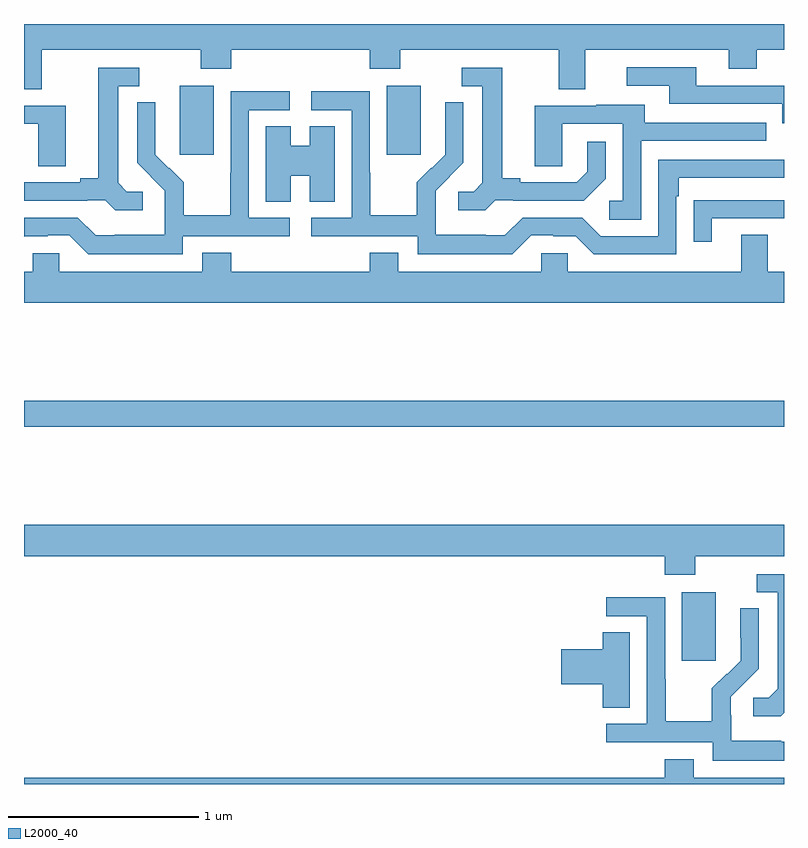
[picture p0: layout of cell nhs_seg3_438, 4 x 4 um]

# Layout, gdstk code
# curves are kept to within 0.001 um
import gdstk
lib = gdstk.Library(unit=1e-6, precision=1e-09)
def R(c, l, rs):  # rectangles x0, y0, x1, y1
    for r in rs: c.add(gdstk.rectangle(r[:2], r[2:], *l))
def P(c, l, *ps):  # polygons
    for p in ps: c.add(gdstk.Polygon(p, *l))
L2000_40 = (2000, 40)

nhs_seg3_438 = lib.new_cell('nhs_seg3_438')
R(nhs_seg3_438, L2000_40, [(136.463,683.049,136.642,683.41), (133,684.28,137,684.416), (133.82,685.713,133.999,686.074), (134.909,685.713,135.088,686.074)])
P(nhs_seg3_438, L2000_40, [(133.093,686.264),(133.93,686.264),(133.93,686.165),(134.09,686.165),(134.09,686.264),(134.819,686.264),(134.819,686.165),(134.979,686.165),(134.979,686.264),(135.815,686.264),(135.815,686.056),(135.955,686.056),(135.955,686.264),(136.709,686.264),(136.709,686.165),(136.857,686.165),(136.857,686.264),(137,686.264),(137,686.4),(133,686.4),(133,686.056),(133.093,686.056)],
  [(137,686.076),(136.537,686.076),(136.537,686.172),(136.173,686.172),(136.173,686.076),(136.397,686.076),(136.397,685.98),(136.992,685.98),(136.992,685.877),(137,685.877)],
  [(135.48,685.473),(135.574,685.473),(135.574,685.47),(135.946,685.47),(136.062,685.586),(136.062,685.78),(135.965,685.78),(135.965,685.623),(135.908,685.566),(135.613,685.566),(135.613,685.589),(135.517,685.589),(135.517,686.169),(135.303,686.169),(135.303,686.073),(135.413,686.073),(135.413,685.565),(135.366,685.518),(135.285,685.518),(135.285,685.421),(135.428,685.421)],
  [(133.624,685.518),(133.542,685.518),(133.495,685.565),(133.495,686.073),(133.606,686.073),(133.606,686.169),(133.391,686.169),(133.391,685.589),(133.295,685.589),(133.295,685.566),(133,685.566),(133,685.47),(133.334,685.47),(133.334,685.473),(133.428,685.473),(133.48,685.421),(133.624,685.421)],
  [(135.669,685.287),(135.785,685.287),(135.785,685.284),(135.903,685.284),(135.999,685.188),(136.434,685.188),(136.434,685.493),(136.447,685.493),(136.447,685.59),(137,685.59),(137,685.686),(136.338,685.686),(136.338,685.284),(136.035,685.284),(135.939,685.38),(135.624,685.38),(135.531,685.287),(135.431,685.287),(135.431,685.291),(135.168,685.291),(135.168,685.425),(135.166,685.425),(135.166,685.522),(135.312,685.67),(135.312,685.988),(135.216,685.988),(135.216,685.834),(135.218,685.834),(135.218,685.712),(135.147,685.641),(135.144,685.644),(135.067,685.567),(135.067,685.393),(134.823,685.393),(134.823,685.616),(134.82,685.616),(134.82,686.046),(134.511,686.046),(134.511,685.947),(134.724,685.947),(134.724,685.38),(134.511,685.38),(134.511,685.284),(135.072,685.284),(135.072,685.187),(135.569,685.187)],
  [(133.836,685.284),(134.398,685.284),(134.398,685.38),(134.184,685.38),(134.184,685.947),(134.398,685.947),(134.398,686.046),(134.088,686.046),(134.088,685.616),(134.086,685.616),(134.086,685.393),(133.841,685.393),(133.841,685.567),(133.764,685.644),(133.761,685.641),(133.691,685.712),(133.692,685.988),(133.596,685.988),(133.596,685.67),(133.742,685.522),(133.742,685.425),(133.74,685.425),(133.74,685.291),(133.477,685.291),(133.477,685.287),(133.377,685.287),(133.284,685.38),(133,685.38),(133,685.279),(133.005,685.284),(133.124,685.284),(133.124,685.287),(133.239,685.287),(133.339,685.187),(133.836,685.187)],
  [(136.248,685.785),(136.907,685.785),(136.907,685.881),(136.267,685.881),(136.267,685.975),(136.013,685.975),(136.013,685.971),(135.689,685.971),(135.689,685.651),(135.834,685.651),(135.834,685.875),(136.152,685.875),(136.152,685.47),(136.08,685.47),(136.08,685.369),(136.248,685.369)],
  [(133.219,685.971),(133,685.971),(133,685.875),(133.074,685.875),(133.074,685.651),(133.219,685.651)],
  [(134.404,685.601),(134.504,685.601),(134.504,685.465),(134.635,685.465),(134.635,685.862),(134.504,685.862),(134.504,685.759),(134.404,685.759),(134.404,685.862),(134.273,685.862),(134.273,685.465),(134.404,685.465)],
  [(136.621,685.377),(137,685.377),(137,685.473),(136.627,685.473),(136.627,685.472),(136.525,685.472),(136.525,685.254),(136.621,685.254)],
  [(137,685.096),(136.915,685.096),(136.915,685.291),(136.775,685.291),(136.775,685.096),(135.861,685.096),(135.861,685.194),(135.723,685.194),(135.723,685.096),(134.971,685.096),(134.971,685.195),(134.819,685.195),(134.819,685.096),(134.09,685.096),(134.09,685.195),(133.937,685.195),(133.937,685.096),(133.185,685.096),(133.185,685.194),(133.047,685.194),(133.047,685.096),(133,685.096),(133,684.932),(137,684.932)],
  [(136.533,683.6),(137,683.6),(137,683.764),(133,683.764),(133,683.6),(136.373,683.6),(136.373,683.501),(136.533,683.501)],
  [(137,682.775),(137,683.505),(136.857,683.505),(136.857,683.409),(136.967,683.409),(136.967,682.901),(136.92,682.854),(136.839,682.854),(136.839,682.757),(136.982,682.757)],
  [(137,682.623),(136.985,682.623),(136.985,682.627),(136.722,682.627),(136.722,682.761),(136.72,682.761),(136.72,682.858),(136.866,683.006),(136.866,683.324),(136.77,683.324),(136.77,683.17),(136.772,683.17),(136.772,683.048),(136.701,682.977),(136.698,682.98),(136.621,682.903),(136.621,682.729),(136.377,682.729),(136.377,682.952),(136.374,682.952),(136.374,683.382),(136.065,683.382),(136.065,683.283),(136.278,683.283),(136.278,682.716),(136.065,682.716),(136.065,682.62),(136.626,682.62),(136.626,682.523),(137,682.523)],
  [(136.189,683.198),(136.046,683.198),(136.046,683.108),(135.828,683.108),(135.828,682.925),(136.046,682.925),(136.046,682.801),(136.189,682.801)],
  [(137,682.432),(136.525,682.432),(136.525,682.531),(136.373,682.531),(136.373,682.432),(133,682.432),(133,682.4),(137,682.4)])

lib.write_gds('nhs_seg3_438.gds')
